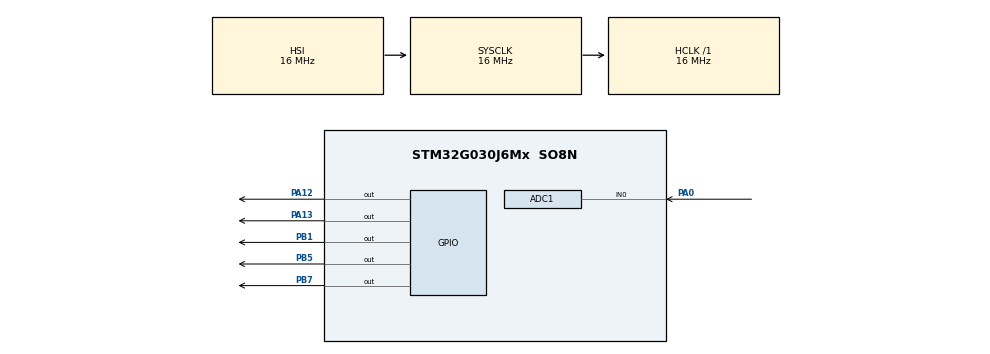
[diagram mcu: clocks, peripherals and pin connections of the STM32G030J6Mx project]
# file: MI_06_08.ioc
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ADC1.Channel-0\#ChannelRegularConversion=ADC_CHANNEL_0
ADC1.NbrOfConversionFlag=1
ADC1.Rank-0\#ChannelRegularConversion=1
ADC1.SamplingTime-0\#ChannelRegularConversion=ADC_SAMPLINGTIME_COMMON_1
ADC1.SelectedChannel=ADC_CHANNEL_0
ADC1.master=1
Mcu.Family=STM32G0
Mcu.Name=STM32G030J6Mx
Mcu.Package=SO8N
PA0.Mode=IN0
PA0.Signal=ADC1_IN0
PA12\ [PA10].GPIO_ModeDefaultOutputPP=GPIO_MODE_OUTPUT_PP
PA12\ [PA10].GPIO_PuPd=GPIO_PULLDOWN
PA12\ [PA10].Signal=GPIO_Output
PA13.GPIO_PuPd=GPIO_PULLDOWN
PA13.Signal=GPIO_Output
PB1.GPIO_ModeDefaultOutputPP=GPIO_MODE_OUTPUT_OD
PB1.GPIO_PuPd=GPIO_NOPULL
PB1.Signal=GPIO_Output
PB5.GPIO_ModeDefaultOutputPP=GPIO_MODE_OUTPUT_OD
PB5.GPIO_PuPd=GPIO_NOPULL
PB5.Signal=GPIO_Output
PB7.GPIO_PuPd=GPIO_PULLDOWN
PB7.Signal=GPIO_Output
ProjectManager.HeapSize=0x200
ProjectManager.StackSize=0x400
ProjectManager.TargetToolchain=STM32CubeIDE
RCC.AHBFreq_Value=16000000
RCC.CortexFreq_Value=16000000
RCC.EXTERNAL_CLOCK_VALUE=12288000
RCC.HCLKFreq_Value=16000000
RCC.HSE_VALUE=8000000
RCC.HSI_VALUE=16000000
RCC.LSE_VALUE=32768
RCC.SYSCLKFreq_VALUE=16000000
RCC.VCOOutputFreq_Value=128000000
board=custom

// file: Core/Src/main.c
/* USER CODE BEGIN Header */
/**
  ******************************************************************************
  * @file           : main.c
  * @brief          : Main program body
  ******************************************************************************
  * @attention
  *
  * <h2><center>&copy; Copyright (c) 2020 STMicroelectronics.
  * All rights reserved.</center></h2>
  *
  * This software component is licensed by ST under BSD 3-Clause license,
  * the "License"; You may not use this file except in compliance with the
  * License. You may obtain a copy of the License at:
  *                        opensource.org/licenses/BSD-3-Clause
  *
  ******************************************************************************
  */
/* USER CODE END Header */
#include "main.h"

ADC_HandleTypeDef hadc1;

/* USER CODE BEGIN PV */
int i = 70;
int ADC_value = 0;
/* USER CODE END PV */

void SystemClock_Config(void);
static void MX_GPIO_Init(void);
static void MX_ADC1_Init(void);

int main(void)
{

  /* MCU Configuration--------------------------------------------------------*/

  /* Reset of all peripherals, Initializes the Flash interface and the Systick. */
  HAL_Init();

  /* Configure the system clock */
  SystemClock_Config();

  /* Initialize all configured peripherals */
  MX_GPIO_Init();
  MX_ADC1_Init();
  /* USER CODE BEGIN 2 */

  HAL_ADCEx_Calibration_Start(&hadc1);
   for (int i = 10; i!=0; i=i-1)
   {
 	  HAL_ADC_Start(&hadc1);
 	  HAL_ADC_PollForConversion(&hadc1, 100);
 	  ADC_value =ADC_value+HAL_ADC_GetValue(&hadc1);
 	  HAL_Delay(50);
   }
   HAL_ADC_Stop(&hadc1);
   HAL_Delay(100);
   ADC_value = ADC_value/10;

  /* USER CODE END 2 */

  /* Infinite loop */
  while (1)
  {

    /* USER CODE BEGIN 3 */

	  /*12*/
	  	  while ((ADC_value>0)&&(ADC_value<=2282))
	  	  {
	  		  int i = 70;

		  	/*	HAL_GPIO_WritePin(GPIOB, GPIO_PIN_5, GPIO_PIN_SET);
		  		HAL_GPIO_WritePin(GPIOB, GPIO_PIN_1, GPIO_PIN_SET);

		  		  HAL_GPIO_WritePin(GPIOB, GPIO_PIN_7, GPIO_PIN_SET);
		  		  HAL_GPIO_WritePin(GPIOA, GPIO_PIN_12, GPIO_PIN_SET);
		  		  HAL_GPIO_WritePin(GPIOA, GPIO_PIN_13, GPIO_PIN_SET);
		  		  HAL_Delay(i);

		  		  /*23*

		  		HAL_GPIO_WritePin(GPIOB, GPIO_PIN_5, GPIO_PIN_RESET);
		  		HAL_GPIO_WritePin(GPIOB, GPIO_PIN_1, GPIO_PIN_SET);

		  		  HAL_GPIO_WritePin(GPIOB, GPIO_PIN_7, GPIO_PIN_SET);
		  		  HAL_GPIO_WritePin(GPIOA, GPIO_PIN_12, GPIO_PIN_SET);
		  		  HAL_GPIO_WritePin(GPIOA, GPIO_PIN_13, GPIO_PIN_SET);
		  		  HAL_Delay(i);
*/

	  		/*12*/
	  		  HAL_GPIO_WritePin(GPIOB, GPIO_PIN_5, GPIO_PIN_RESET);
	  		  HAL_GPIO_WritePin(GPIOB, GPIO_PIN_1, GPIO_PIN_SET);
	  		  HAL_GPIO_WritePin(GPIOB, GPIO_PIN_7, GPIO_PIN_SET);
	  		  HAL_GPIO_WritePin(GPIOA, GPIO_PIN_12, GPIO_PIN_SET);
	  		  HAL_GPIO_WritePin(GPIOA, GPIO_PIN_13, GPIO_PIN_RESET);
	  		  HAL_Delay(i);

	  		  /*23*/
	  		  HAL_GPIO_WritePin(GPIOB, GPIO_PIN_5, GPIO_PIN_RESET);
	  		  HAL_GPIO_WritePin(GPIOB, GPIO_PIN_1, GPIO_PIN_SET);
	  		  HAL_GPIO_WritePin(GPIOB, GPIO_PIN_7, GPIO_PIN_RESET);
	  		  HAL_GPIO_WritePin(GPIOA, GPIO_PIN_12, GPIO_PIN_SET);
	  		  HAL_GPIO_WritePin(GPIOA, GPIO_PIN_13, GPIO_PIN_SET);
	  		  HAL_Delay(i);

	  		  /*34*/
	  		  HAL_GPIO_WritePin(GPIOB, GPIO_PIN_5, GPIO_PIN_RESET);
	  		  HAL_GPIO_WritePin(GPIOB, GPIO_PIN_1, GPIO_PIN_RESET);
	  		  HAL_GPIO_WritePin(GPIOB, GPIO_PIN_7, GPIO_PIN_RESET);
	  		  HAL_GPIO_WritePin(GPIOA, GPIO_PIN_12, GPIO_PIN_RESET);
	  		  HAL_GPIO_WritePin(GPIOA, GPIO_PIN_13, GPIO_PIN_SET);
	  		  HAL_Delay(i);

	  		  /*45*/
	  		  HAL_GPIO_WritePin(GPIOB, GPIO_PIN_5, GPIO_PIN_SET);
	  		  HAL_GPIO_WritePin(GPIOB, GPIO_PIN_1, GPIO_PIN_RESET);
	  		  HAL_GPIO_WritePin(GPIOB, GPIO_PIN_7, GPIO_PIN_RESET);
	  		  HAL_GPIO_WritePin(GPIOA, GPIO_PIN_12, GPIO_PIN_SET);
	  		  HAL_GPIO_WritePin(GPIOA, GPIO_PIN_13, GPIO_PIN_SET);
	  		  HAL_Delay(i);

	  		  /*56*/
	  		  HAL_GPIO_WritePin(GPIOB, GPIO_PIN_5, GPIO_PIN_SET);
	  		  HAL_GPIO_WritePin(GPIOB, GPIO_PIN_1, GPIO_PIN_RESET);
	  		  HAL_GPIO_WritePin(GPIOB, GPIO_PIN_7, GPIO_PIN_SET);
	  		  HAL_GPIO_WritePin(GPIOA, GPIO_PIN_12, GPIO_PIN_SET);
	  		  HAL_GPIO_WritePin(GPIOA, GPIO_PIN_13, GPIO_PIN_RESET);
	  		  HAL_Delay(i);

	  		  /*61*/
	  		  HAL_GPIO_WritePin(GPIOB, GPIO_PIN_5, GPIO_PIN_RESET);
	  		  HAL_GPIO_WritePin(GPIOB, GPIO_PIN_1, GPIO_PIN_RESET);
	  		  HAL_GPIO_WritePin(GPIOB, GPIO_PIN_7, GPIO_PIN_SET);
	  		  HAL_GPIO_WritePin(GPIOA, GPIO_PIN_12, GPIO_PIN_RESET);
	  		  HAL_GPIO_WritePin(GPIOA, GPIO_PIN_13, GPIO_PIN_RESET);

	  		  HAL_Delay(i-30);

	  		  ADC_value = 0;
	  		  for (int i = 3; i!=0; i=i-1)
	  		  {
	  		  	  HAL_ADC_Start(&hadc1);
	  		  	  HAL_ADC_PollForConversion(&hadc1, 100);
	  		  	  ADC_value = ADC_value + HAL_ADC_GetValue(&hadc1);
	  		  	  HAL_Delay(10);
	  		  }
	  		    HAL_ADC_Stop(&hadc1);
	  		    ADC_value = ADC_value/3;

	  	 }

	  	  while ((ADC_value>2282)&&(ADC_value<=3347))
	  	 {
	  		 // i=400;

	  		  HAL_GPIO_WritePin(GPIOB, GPIO_PIN_5, GPIO_PIN_RESET);
	  		  HAL_GPIO_WritePin(GPIOB, GPIO_PIN_1, GPIO_PIN_RESET);

	  		  HAL_GPIO_WritePin(GPIOB, GPIO_PIN_7, GPIO_PIN_SET);
	  		  HAL_GPIO_WritePin(GPIOA, GPIO_PIN_12, GPIO_PIN_SET);
	  		  HAL_GPIO_WritePin(GPIOA, GPIO_PIN_13, GPIO_PIN_SET);

	  		  HAL_Delay(200);

	  		  HAL_GPIO_WritePin(GPIOB, GPIO_PIN_7, GPIO_PIN_RESET);
	  		  HAL_GPIO_WritePin(GPIOA, GPIO_PIN_12, GPIO_PIN_RESET);
	  		  HAL_GPIO_WritePin(GPIOA, GPIO_PIN_13, GPIO_PIN_RESET);

	  		  HAL_Delay(270);

	  		  ADC_value = 0;
	  		  for (int i = 3; i!=0; i=i-1)
	  		  {
	  		  	  HAL_ADC_Start(&hadc1);
	  		  	  HAL_ADC_PollForConversion(&hadc1, 100);
	  		  	  ADC_value = ADC_value + HAL_ADC_GetValue(&hadc1);
	  		  	  HAL_Delay(10);
	  		  }
	  		    HAL_ADC_Stop(&hadc1);
	  		    ADC_value = ADC_value/3;
	  	 }

	  	  while ((ADC_value>3347)&&(ADC_value<=4095))
	  	 {
	  		  i=50;

	  		  HAL_GPIO_WritePin(GPIOB, GPIO_PIN_5, GPIO_PIN_RESET);
	  		  HAL_GPIO_WritePin(GPIOB, GPIO_PIN_1, GPIO_PIN_RESET);

	  		  HAL_GPIO_WritePin(GPIOB, GPIO_PIN_7, GPIO_PIN_SET);
	  		  HAL_GPIO_WritePin(GPIOA, GPIO_PIN_12, GPIO_PIN_SET);
	  		  HAL_GPIO_WritePin(GPIOA, GPIO_PIN_13, GPIO_PIN_SET);
	  		  HAL_Delay(i);
	  		  HAL_GPIO_WritePin(GPIOB, GPIO_PIN_7, GPIO_PIN_RESET);
	  		  HAL_GPIO_WritePin(GPIOA, GPIO_PIN_12, GPIO_PIN_RESET);
	  		  HAL_GPIO_WritePin(GPIOA, GPIO_PIN_13, GPIO_PIN_RESET);
	  		  HAL_Delay(i);

	  		  HAL_GPIO_WritePin(GPIOB, GPIO_PIN_7, GPIO_PIN_SET);
	  		  HAL_GPIO_WritePin(GPIOA, GPIO_PIN_12, GPIO_PIN_SET);
	  		  HAL_GPIO_WritePin(GPIOA, GPIO_PIN_13, GPIO_PIN_SET);
	  		  HAL_Delay(i);
	  		  HAL_GPIO_WritePin(GPIOB, GPIO_PIN_7, GPIO_PIN_RESET);
	  		  HAL_GPIO_WritePin(GPIOA, GPIO_PIN_12, GPIO_PIN_RESET);
	  		  HAL_GPIO_WritePin(GPIOA, GPIO_PIN_13, GPIO_PIN_RESET);
	  		  HAL_Delay(i);

	  		  HAL_GPIO_WritePin(GPIOB, GPIO_PIN_7, GPIO_PIN_SET);
	  		  HAL_GPIO_WritePin(GPIOA, GPIO_PIN_12, GPIO_PIN_SET);
	  		  HAL_GPIO_WritePin(GPIOA, GPIO_PIN_13, GPIO_PIN_SET);
	  		  HAL_Delay(i);
	  		  HAL_GPIO_WritePin(GPIOB, GPIO_PIN_7, GPIO_PIN_RESET);
	  		  HAL_GPIO_WritePin(GPIOA, GPIO_PIN_12, GPIO_PIN_RESET);
	  		  HAL_GPIO_WritePin(GPIOA, GPIO_PIN_13, GPIO_PIN_RESET);
	  		  HAL_Delay(i);

	  		  HAL_GPIO_WritePin(GPIOB, GPIO_PIN_7, GPIO_PIN_SET);
	  		  HAL_GPIO_WritePin(GPIOA, GPIO_PIN_12, GPIO_PIN_SET);
	  		  HAL_GPIO_WritePin(GPIOA, GPIO_PIN_13, GPIO_PIN_SET);
	  		  HAL_Delay(i);
	  		  HAL_GPIO_WritePin(GPIOB, GPIO_PIN_7, GPIO_PIN_RESET);
	  		  HAL_GPIO_WritePin(GPIOA, GPIO_PIN_12, GPIO_PIN_RESET);
	  		  HAL_GPIO_WritePin(GPIOA, GPIO_PIN_13, GPIO_PIN_RESET);
	  		  HAL_Delay(i);

	  		  HAL_GPIO_WritePin(GPIOB, GPIO_PIN_7, GPIO_PIN_SET);
	  		  HAL_GPIO_WritePin(GPIOA, GPIO_PIN_12, GPIO_PIN_SET);
	  		  HAL_GPIO_WritePin(GPIOA, GPIO_PIN_13, GPIO_PIN_SET);
	  		  HAL_Delay(i);
	  		  HAL_GPIO_WritePin(GPIOB, GPIO_PIN_7, GPIO_PIN_RESET);
	  		  HAL_GPIO_WritePin(GPIOA, GPIO_PIN_12, GPIO_PIN_RESET);
	  		  HAL_GPIO_WritePin(GPIOA, GPIO_PIN_13, GPIO_PIN_RESET);
	  		  HAL_Delay(i*10);

	  		  ADC_value = 0;
	  		  for (int i = 3; i!=0; i=i-1)
	  		  {
	  		  	  HAL_ADC_Start(&hadc1);
	  		  	  HAL_ADC_PollForConversion(&hadc1, 100);
	  		  	  ADC_value = ADC_value + HAL_ADC_GetValue(&hadc1);
	  		  	  HAL_Delay(5);
	  		  }
	  		    HAL_ADC_Stop(&hadc1);
	  		    ADC_value = ADC_value/3;
	  	 }
  }
  /* USER CODE END 3 */
}

void SystemClock_Config(void)
{
  RCC_OscInitTypeDef RCC_OscInitStruct = {0};
  RCC_ClkInitTypeDef RCC_ClkInitStruct = {0};
  RCC_PeriphCLKInitTypeDef PeriphClkInit = {0};

  /** Configure the main internal regulator output voltage
  */
  HAL_PWREx_ControlVoltageScaling(PWR_REGULATOR_VOLTAGE_SCALE1);
  /** Initializes the RCC Oscillators according to the specified parameters
  * in the RCC_OscInitTypeDef structure.
  */
  RCC_OscInitStruct.OscillatorType = RCC_OSCILLATORTYPE_HSI;
  RCC_OscInitStruct.HSIState = RCC_HSI_ON;
  RCC_OscInitStruct.HSIDiv = RCC_HSI_DIV1;
  RCC_OscInitStruct.HSICalibrationValue = RCC_HSICALIBRATION_DEFAULT;
  RCC_OscInitStruct.PLL.PLLState = RCC_PLL_NONE;
  if (HAL_RCC_OscConfig(&RCC_OscInitStruct) != HAL_OK)
  {
    Error_Handler();
  }
  /** Initializes the CPU, AHB and APB buses clocks
  */
  RCC_ClkInitStruct.ClockType = RCC_CLOCKTYPE_HCLK|RCC_CLOCKTYPE_SYSCLK
                              |RCC_CLOCKTYPE_PCLK1;
  RCC_ClkInitStruct.SYSCLKSource = RCC_SYSCLKSOURCE_HSI;
  RCC_ClkInitStruct.AHBCLKDivider = RCC_SYSCLK_DIV1;
  RCC_ClkInitStruct.APB1CLKDivider = RCC_HCLK_DIV1;

  if (HAL_RCC_ClockConfig(&RCC_ClkInitStruct, FLASH_LATENCY_0) != HAL_OK)
  {
    Error_Handler();
  }
  /** Initializes the peripherals clocks
  */
  PeriphClkInit.PeriphClockSelection = RCC_PERIPHCLK_ADC;
  PeriphClkInit.AdcClockSelection = RCC_ADCCLKSOURCE_SYSCLK;
  if (HAL_RCCEx_PeriphCLKConfig(&PeriphClkInit) != HAL_OK)
  {
    Error_Handler();
  }
}

static void MX_ADC1_Init(void)
{

  ADC_ChannelConfTypeDef sConfig = {0};

  /** Configure the global features of the ADC (Clock, Resolution, Data Alignment and number of conversion)
  */
  hadc1.Instance = ADC1;
  hadc1.Init.ClockPrescaler = ADC_CLOCK_SYNC_PCLK_DIV2;
  hadc1.Init.Resolution = ADC_RESOLUTION_12B;
  hadc1.Init.DataAlign = ADC_DATAALIGN_RIGHT;
  hadc1.Init.ScanConvMode = ADC_SCAN_DISABLE;
  hadc1.Init.EOCSelection = ADC_EOC_SINGLE_CONV;
  hadc1.Init.LowPowerAutoWait = DISABLE;
  hadc1.Init.LowPowerAutoPowerOff = DISABLE;
  hadc1.Init.ContinuousConvMode = DISABLE;
  hadc1.Init.NbrOfConversion = 1;
  hadc1.Init.DiscontinuousConvMode = DISABLE;
  hadc1.Init.ExternalTrigConv = ADC_SOFTWARE_START;
  hadc1.Init.ExternalTrigConvEdge = ADC_EXTERNALTRIGCONVEDGE_NONE;
  hadc1.Init.DMAContinuousRequests = DISABLE;
  hadc1.Init.Overrun = ADC_OVR_DATA_PRESERVED;
  hadc1.Init.SamplingTimeCommon1 = ADC_SAMPLETIME_1CYCLE_5;
  hadc1.Init.SamplingTimeCommon2 = ADC_SAMPLETIME_1CYCLE_5;
  hadc1.Init.OversamplingMode = DISABLE;
  hadc1.Init.TriggerFrequencyMode = ADC_TRIGGER_FREQ_HIGH;
  if (HAL_ADC_Init(&hadc1) != HAL_OK)
  {
    Error_Handler();
  }
  /** Configure Regular Channel
  */
  sConfig.Channel = ADC_CHANNEL_0;
  sConfig.Rank = ADC_REGULAR_RANK_1;
  sConfig.SamplingTime = ADC_SAMPLINGTIME_COMMON_1;
  if (HAL_ADC_ConfigChannel(&hadc1, &sConfig) != HAL_OK)
  {
    Error_Handler();
  }

}

static void MX_GPIO_Init(void)
{
  GPIO_InitTypeDef GPIO_InitStruct = {0};

  /* GPIO Ports Clock Enable */
  __HAL_RCC_GPIOB_CLK_ENABLE();
  __HAL_RCC_GPIOA_CLK_ENABLE();

  /*Configure GPIO pin Output Level */
  HAL_GPIO_WritePin(GPIOB, GPIO_PIN_7|GPIO_PIN_1|GPIO_PIN_5, GPIO_PIN_RESET);

  /*Configure GPIO pin Output Level */
  HAL_GPIO_WritePin(GPIOA, GPIO_PIN_12|GPIO_PIN_13, GPIO_PIN_RESET);

  /*Configure GPIO pin : PB7 */
  GPIO_InitStruct.Pin = GPIO_PIN_7;
  GPIO_InitStruct.Mode = GPIO_MODE_OUTPUT_PP;
  GPIO_InitStruct.Pull = GPIO_PULLDOWN;
  GPIO_InitStruct.Speed = GPIO_SPEED_FREQ_LOW;
  HAL_GPIO_Init(GPIOB, &GPIO_InitStruct);

  /*Configure GPIO pins : PB1 PB5 */
  GPIO_InitStruct.Pin = GPIO_PIN_1|GPIO_PIN_5;
  GPIO_InitStruct.Mode = GPIO_MODE_OUTPUT_OD;
  GPIO_InitStruct.Pull = GPIO_NOPULL;
  GPIO_InitStruct.Speed = GPIO_SPEED_FREQ_LOW;
  HAL_GPIO_Init(GPIOB, &GPIO_InitStruct);

  /*Configure GPIO pins : PA12 PA13 */
  GPIO_InitStruct.Pin = GPIO_PIN_12|GPIO_PIN_13;
  GPIO_InitStruct.Mode = GPIO_MODE_OUTPUT_PP;
  GPIO_InitStruct.Pull = GPIO_PULLDOWN;
  GPIO_InitStruct.Speed = GPIO_SPEED_FREQ_LOW;
  HAL_GPIO_Init(GPIOA, &GPIO_InitStruct);

}

void Error_Handler(void)
{
}

/************************ (C) COPYRIGHT STMicroelectronics *****END OF FILE****/
